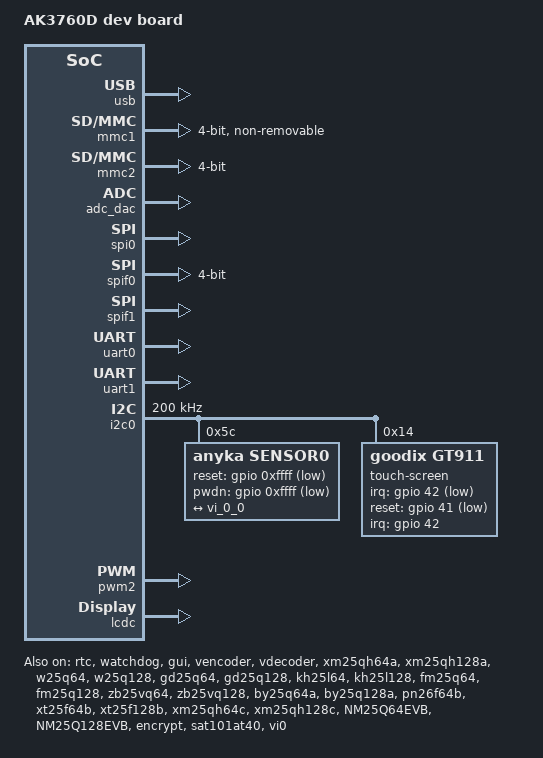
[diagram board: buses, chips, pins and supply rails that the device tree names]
/*
 * AK37D dev board dts
 *
 * Copyright (C) 2018 Anyka(Guangzhou) Microelectronics Technology Co., Ltd.
 *
 * Author: Feilong Dong <dong_feilong@anyka.com>
 *
 * This program is free software; you can redistribute it and/or modify
 * it under the terms of the GNU General Public License as published by
 * the Free Software Foundation; either version 2 of the License, or
 * (at your option) any later version.
 *
 * This program is distributed in the hope that it will be useful,
 * but WITHOUT ANY WARRANTY; without even the implied warranty of
 * MERCHANTABILITY or FITNESS FOR A PARTICULAR PURPOSE.  See the
 * GNU General Public License for more details.
 */

/dts-v1/;
#include "anycloud_ak37d1.dtsi"
#include "anycloud_ak37d_lcd.dtsi"
#include "anycloud_ak37d_norflash.dtsi"
#include "anycloud_ak37d_nandflash1.dtsi"

/ {
    compatible = "anyka,ak37d";
    model = "AK3760D dev board";
	version = "V1.0.06";
};

&gpio {
    /* anyka,function sharepin func index according to table 2-1 sharepin-list */
    /* index: 0: PIN default func, 1: FUNCTION1, 2: FUNCTION2, 3: FUNCTION3, 4: FUNCTION4 */
    /* anyka,pull config value bit[31:24]--slew rate, bit[23:16]--ie, bit[15:8]--drive, bit[7:0]--pupd config */
    /* bit[31:24]--slew rate, 0: slow, 1: fast */
    /* bit[23:16]--ie, input enable, 0: disable, 1: enable */
    /* bit[15:8]--drive, drive strength, 4levels value: 0x0-0x3 */
    /* bit[7:0]--bit[7]: open drain 0:disable, 1:enable (only for gpio31/32);
				pupd config, bit[6:4] 1:enable/ 0:disable, bit[3:0] 0:select PU /1:select PD */

   dvp0_12bits_pins: dvp0_12bits_pins {
        anyka,pins = <25 26 27 28 111 112 113 114 115 116 117 118 119 120 121 122>;
        anyka,function = <1>;
        anyka,pull = <0x01010310>;
    };

    dvp0_10bits_pins: dvp0_10bits_pins {
        anyka,pins = <25 26 27 28 111 112 113 114 115 116 117 118 119 120 121 122>;
        anyka,function = <1>;
        anyka,pull = <0x01010310>;
    };

    dvp0_8bits_pins: dvp0_8bits_pins {
        anyka,pins = <25 26 27 28 111 112 113 114 115 116 117 118 119 120 121 122>;
        anyka,function = <1>;
        anyka,pull = <0x01010310>;
    };

    mipi0_2lane_pins: mipi0_2lane_pins {
        anyka,pins = <25 111 112 113 114 115 116>;
        anyka,function = <1 2 2 2 2 2 2>;
        anyka,pull = <0x01010310>;
    };

    mipi0_1lane_pins: mipi0_1lane_pins {
        anyka,pins = <25 111 112 113 114>;
        anyka,function = <1 2 2 2 2>;
        anyka,pull = <0x01010310>;
    };

    mipi1_2lane_pins: mipi1_2lane_pins {
        anyka,pins = <26 117 118 119 120 121 122>;
        anyka,function = <1 2 2 2 2 2 2>;
        anyka,pull = <0x01010310>;
    };

    mipi1_1lane_pins: mipi1_1lane_pins {
        anyka,pins = <26 117 118 119 120>;
        anyka,function = <1 2 2 2 2>;
        anyka,pull = <0x01010310>;
    };

    csi0_sclk_pin: csi0_sclk_pin {
        anyka,pins = <25>;
        anyka,function = <1>;
        anyka,pull = <0x01010310>;
    };

    csi1_sclk_pin: csi1_sclk_pin {
        anyka,pins = <26>;
        anyka,function = <1>;
        anyka,pull = <0x01010310>;
    };

    i2c0_pins: i2c0_pins {
        anyka,pins = <31 32>;
        anyka,function = <1>;
        anyka,pull = <0x01010380>;
        //anyka,pull = <0x01011110>;
    };
    goodx9xx_pins:goodx9xx_pins {
        anyka,pins = <42 41>;
	    anyka,function = <0>;
        anyka,pull = <0x01010000>;
    };

    mci1_pins: mci1_pins {
        anyka,pins = <43 44 45 46 47 48>;
        anyka,function = <1>;
        anyka,pull = <0x10010 0x10000 0x10010 0x10010 0x10010 0x10010>; /* 4 line */
    };
    
    mci1_idle_pins:mci1_idle_pins{
	    anyka,pins = <43 44 45 46 47 48>;
	    anyka,function = <0>;
	    anyka,pull = <0x00000>; /* 4 line */
    };

    mci2_pins: mci2_pins {
        anyka,pins = <14 15 19 20 23 24>;
        anyka,function = <2>;
        anyka,pull = <0x01010301 0x01010301 0x01010301 0x01010301 0x01010301 0x01010301>;
    };

   wifi_en_pins:wifi_en_pins{
        anyka,pins = <3>;
	    anyka,function = <0>;
        anyka,pull = <0x01000310>;
    };
    tf_en_pins:tf_en_pins{
        anyka,pins = <93>;
	    anyka,function = <0>;
        anyka,pull = <0x01000310>;
    };
    tf_det_pins:tf_det_pins{
        anyka,pins = <10>;
	    anyka,function = <0>;
        anyka,pull = <0x01010300>;
    }; 

 

    spiflash_pins: spiflash_pins {
        anyka,pins = <12 82 67 68 69 70>; /* 4 LINE mode, 12 is spi nor cs, 18 is spinand cs*/
        anyka,function = <1 0 0 0 0 0>;
        anyka,pull = <0x01010010>;
    };

    lcd_reset_pins: lcd_reset_pins {
	    anyka,pins = <35>;
	    anyka,function = <0>;
        anyka,pull = <0x01000310>;
    };

	
    uart0_pins: uart0_pins {
        anyka,pins = <1 2>;
        anyka,function = <1>;
        anyka,pull = <0x01010010>;
    };
    uart1_pins: uart1_pins {
        anyka,pins = <36 37>;
        anyka,function = <2 3>;
        anyka,pull = <0x01010010>;
    };
    pwm2_pins: pwm2_pins {
	    anyka,pins = <39>;
	    anyka,function = <2>;
        anyka,pull = <0x01000310>;
    };
};

&rtc {
	 /*
	  * rtc osc_source_select, 1 means INTERNAL RC OSC, 0 means EXTERNAL XTAL
	  * if internal RC OSC is used to generate 32KH,time adjustment should be setting.(basic unit: ms)
	  */
    osc-select = <0>;
    adjust-time = <120000>;
    status = "okay";
};

&watchdog {
		/*max feed dog time = 357s, default setting time = 10s. */
    def_heartbeat = <10>;
    status = "okay";
};

&gui {
    status = "okay";
};

&vencoder {
    status = "okay";
};

&vdecoder {
    status = "okay";
};

&usb {
    status = "okay"; 
};

&mmc1 {
    bus-width = <0x4>;
    max-frequency = <50000000>;
    /*
     *  detect mode:
     *  (1) non-removable;
     *  (2) detect-gpio/detect-gpios: card detect using gpio
     *      for example:
     *      detect-gpio = <&gpio 77 1>;  or detect-gpios = <&gpio 77 1>;  
     *  (3) cd_clk: card detect using MCLK
     *  default is non-removable
     */
    non-removable;
    /* if support sdio, using cap-sdio-irq*/
    cap-sdio-irq;
    /* if support highspeed, using cap-sd-highspeed */
    cap-sd-highspeed;
    pinctrl-names = "default","idle";
    pinctrl-0 = <&mci1_pins>;
    
    /*
    * support tf card circuit enable function
    */
    pinctrl-0 = <&mci1_pins>,<&wifi_en_pins>;
    pinctrl-1 = <&mci1_idle_pins>;
    power-pins = <&gpio 3 1>;
    status = "okay";
};

&mmc2 {
    bus-width = <0x4>;
    max-frequency = <50000000>;
    /*
     *  detect mode:
     *  (1) non-removable;
     *  (2) detect-gpio/detect-gpios: card detect using gpio
     *      detect-gpio = <&gpio 77 1>;
     *      or
     *      detect-gpios = <&gpio 77 1>;
     *  (3) cd_clk: card detect using MCLK
     *  default is non-removable
     */
    detect-gpio = <&gpio 10 1>; 
    /* if support highspeed, using cap-sd-highspeed */
    cap-sd-highspeed;
    pinctrl-names = "default";
    pinctrl-0 = <&mci2_pins>,<&tf_en_pins>,<&tf_det_pins>;
    
    power-pins = <&gpio 93 1>;
    status = "okay";
};

&adc_dac {
    pinctrl-names = "default";
    /*the level of speak-gpios votage for power on audio: 0=low, 1=high*/
    speak-gpios-en = <0>;
    status = "okay";
};


&spi0 {
    pinctrl-names = "default";
    pinctrl-0 = <&spiflash_pins>;
    cs-gpios = <&gpio 12 1>, <&gpio 82 1>;
    spi-bus-frequency = <80000000>;
    /*
     * cap-spi-highspeed;
     * if defined, means high speed controller(Maximum 80M/s);
     * if not, means normal speed controller(below 60M/s)
     */
    cap-spi-highspeed;
    status = "okay";
};

&spif0 {
	/* spi flash data bus width:
	** 1 means 1 wire mode.
	** 2 means 2 wire mode
	** 4 means 4 wire mode.
	** default: 4 wire mode.
	**/
	bus-width = <4>;
	status = "okay";
};

&spif1 {
   	status = "okay";
};

&xm25qh64a{
    status = "okay";
};

&xm25qh128a{
    status = "okay"; 
};

&w25q64{
    status = "okay"; 
};

&w25q128{
    status = "okay";
};

&gd25q64{
    status = "okay";
};

&gd25q128{
    status = "okay";
};

&kh25l64{
    status = "okay";
};

&kh25l128{
    status = "okay";
};

&fm25q64{
    status = "okay";
};

&fm25q128{
    status = "okay";
};

&zb25vq64{
    status = "okay";
};

&zb25vq128{
    status = "okay";
};

&by25q64a{
    status = "okay";
};

&by25q128a{
    status = "okay";
};

&pn26f64b{
    status = "okay";
};

&xt25f64b{
    status = "okay";
};

&xt25f128b{
    status = "okay";
};

&xm25qh64c{
    status = "okay";
};

&xm25qh128c{
    status = "okay";
};

&NM25Q64EVB{
    status = "okay";
};

&NM25Q128EVB{
    status = "okay";
};


&uart0 {
    pinctrl-names = "default";
	pinctrl-0 = <&uart0_pins>;
    status = "okay";
};

&uart1 {
    pinctrl-names = "default";
	pinctrl-0 = <&uart1_pins>;
    status = "okay";
};


&i2c0 {
    pinctrl-names = "default";
    pinctrl-0 = <&i2c0_pins>;

    clock-frequency = <200000>;//<312000>; //<200000>;//
    sda-delay = <100>;
    status = "okay";
	#address-cells = <1>;
	#size-cells = <0>;
    
	sensor0: camera@0x30{
		compatible = "anyka,sensor0";
		reg = <0x5C>;

		/*0xffff means the gpio is invalid*/
		reset-gpio = <&gpio 0xffff 1>;
		pwdn-gpio = <&gpio 0xffff 1>;

		port {
			sensor0_0: endpoint@0 {
				remote-endpoint = <&vi_0_0>;
			};
		};
	};

     touch-screen@48 {
		    compatible = "goodix,gt911";
		    reg = <0x14>;
		    /* RGB touch-pane irq and reset gpio setting */
            pinctrl-names = "default";
            pinctrl-0 = <&goodx9xx_pins>;
            irq-gpios = <&gpio 42 1>;
            reset-gpios = <&gpio 41 1>;
            TP_MAX_X = <800>;
            TP_MAX_Y = <1280>;
            interrupt-parent = <&gpio>;
		    interrupts = <42 1>;
		    interrupts-names = "irq-gpios";
            status = "okay";
	  }; 
};


&encrypt{
   /*
    * encrypt-mode
    * 0 = CRYPTO_SINGLE_GROUP_MODE ; 1 = CRYPTO_MULTI_GROUP_MODE
    */
    encrypt-mode = <1>;
    status = "okay";
};

&pwm2 {
	pinctrl-names = "default";

	pinctrl-0 = <&pwm2_pins>;
	/*
	**frequency of PWM ranges from 92/256Hz(0.36Hz) to 6MHz.
	**duty of PWM ranges from 1 to 65535.
	**Minimum duty cycle:1/65536
	**Maximum duty cyscle:65535/65536.
	**period-ns: period of the PWM signal (in nanoseconds)
        **duty-ns: duty cycle of the PWM signal (in nanoseconds)
	**pwm-enable = 0 means disable pwm function.
	**pwm-enable = 1 means enable pwm function.
	*/
	period-ns = <10869565>;
	duty-ns = <10869565>;
	pwm-enable = <1>;
	status = "okay";
};

&lcdc {
    pinctrl-names = "default";
    pinctrl-0 = <&lcd_reset_pins>;
    reset-pins = <&gpio 35 0>; //only for mipi lcd
    
    lcd-logo-width = <91>;
    lcd-logo-height = <545>;
    //[fmt1:fmt0] 00 16bits input(RGB565 or BGR565)
    //[fmt1:fmt0] 01 24bits input(RGB888 or BGR888)
    //[fmt1:fmt0] 10 or 11 32bits input(ARGB888 ABGR888 RGBA888 BGRA888)
    lcd-logo-fmt0 = <1>;
    lcd-logo-fmt1 = <0>;
    lcd-logo-rgb-seq = <0>; //0 for BGR, 1 for RGB
    
    lcd-fb-type = <1>; //0:single buffer; 1:double buffer
    status = "okay";
};

&sat101at40{
    status = "okay";
};

&vi0{
	pinctrl-names = "dvp0_12bits", "dvp0_10bits", "dvp0_8bits",
		"mipi0_2lane", "mipi0_1lane", "mipi1_2lane", "mipi1_1lane",
		"csi0_sclk", "csi1_sclk";
    pinctrl-0 = <&dvp0_12bits_pins>;
    pinctrl-1 = <&dvp0_10bits_pins>;
    pinctrl-2 = <&dvp0_8bits_pins>;
    pinctrl-3 = <&mipi0_2lane_pins>;
    pinctrl-4 = <&mipi0_1lane_pins>;
    pinctrl-5 = <&mipi1_2lane_pins>;
    pinctrl-6 = <&mipi1_1lane_pins>;
    pinctrl-7 = <&csi0_sclk_pin>;
    pinctrl-8 = <&csi1_sclk_pin>;
    status = "okay";

	port@0 {
		#address-cells = <1>;
		#size-cells = <0>;

		vi_0_0: endpoint@0 {
			reg = <0>;
			remote-endpoint = <&sensor0_0>;
		};
	};
};
